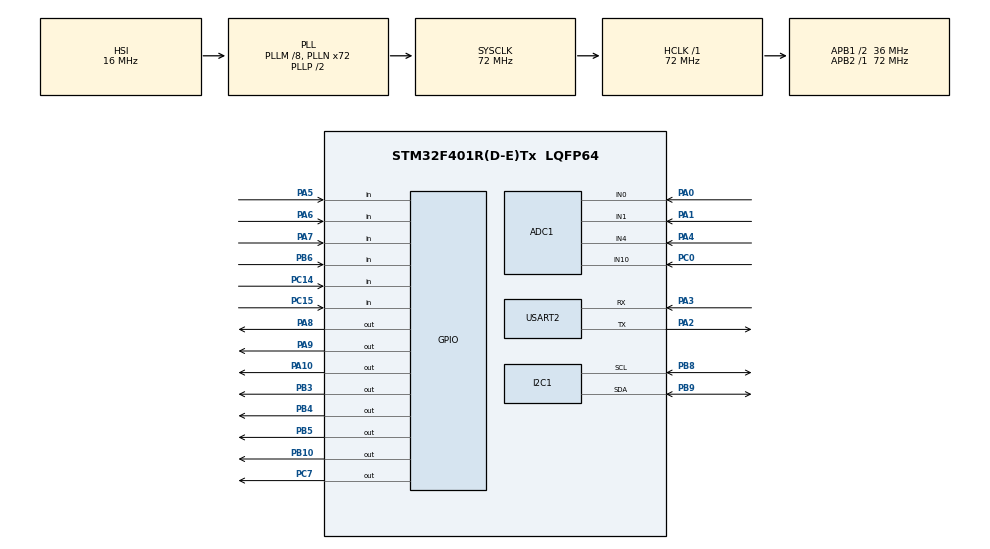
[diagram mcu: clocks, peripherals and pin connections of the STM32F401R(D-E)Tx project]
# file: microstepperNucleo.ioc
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ADC1.Channel-1\#ChannelRegularConversion=ADC_CHANNEL_0
ADC1.ClockPrescaler=ADC_CLOCK_SYNC_PCLK_DIV8
ADC1.ContinuousConvMode=ENABLE
ADC1.NbrOfConversion=1
ADC1.NbrOfConversionFlag=1
ADC1.Rank-1\#ChannelRegularConversion=1
ADC1.SamplingTime-1\#ChannelRegularConversion=ADC_SAMPLETIME_480CYCLES
ADC1.ScanConvMode=DISABLE
ADC1.master=1
Mcu.Family=STM32F4
Mcu.Name=STM32F401R(D-E)Tx
Mcu.Package=LQFP64
NVIC.PriorityGroup=NVIC_PRIORITYGROUP_4
NVIC.TIM3_IRQn=true\:0\:0\:false\:false\:true\:true\:true\:true
PA0-WKUP.Signal=ADCx_IN0
PA1.Signal=ADCx_IN1
PA10.Signal=GPIO_Output
PA13.Mode=Serial_Wire
PA13.Signal=SYS_JTMS-SWDIO
PA14.Mode=Serial_Wire
PA14.Signal=SYS_JTCK-SWCLK
PA2.Mode=Asynchronous
PA2.Signal=USART2_TX
PA3.Mode=Asynchronous
PA3.Signal=USART2_RX
PA4.Signal=ADCx_IN4
PA5.Signal=GPIO_Input
PA6.Signal=GPIO_Input
PA7.Signal=GPIO_Input
PA8.Signal=GPIO_Output
PA9.Signal=GPIO_Output
PB10.Signal=GPIO_Output
PB3.Signal=GPIO_Output
PB4.Signal=GPIO_Output
PB5.Signal=GPIO_Output
PB6.Signal=GPIO_Input
PB8.Mode=I2C
PB8.Signal=I2C1_SCL
PB9.Mode=I2C
PB9.Signal=I2C1_SDA
PC0.Signal=ADCx_IN10
PC14-OSC32_IN.Signal=GPIO_Input
PC15-OSC32_OUT.Signal=GPIO_Input
PC7.Signal=GPIO_Output
PH0\ -\ OSC_IN.Mode=HSE-External-Oscillator
PH0\ -\ OSC_IN.Signal=RCC_OSC_IN
PH1\ -\ OSC_OUT.Mode=HSE-External-Oscillator
PH1\ -\ OSC_OUT.Signal=RCC_OSC_OUT
ProjectManager.HeapSize=0x200
ProjectManager.StackSize=0x400
ProjectManager.TargetToolchain=MDK-ARM V5.32
RCC.48MHZClocksFreq_Value=36000000
RCC.AHBFreq_Value=72000000
RCC.APB1CLKDivider=RCC_HCLK_DIV2
RCC.APB1Freq_Value=36000000
RCC.APB1TimFreq_Value=72000000
RCC.APB2Freq_Value=72000000
RCC.APB2TimFreq_Value=72000000
RCC.CortexFreq_Value=72000000
RCC.HCLKFreq_Value=72000000
RCC.HSE_VALUE=25000000
RCC.HSI_VALUE=16000000
RCC.LSE_VALUE=32768
RCC.PLLM=8
RCC.PLLN=72
RCC.SYSCLKFreq_VALUE=72000000
RCC.SYSCLKSource=RCC_SYSCLKSOURCE_PLLCLK
RCC.VCOOutputFreq_Value=144000000
SH.ADCx_IN0.0=ADC1_IN0,IN0
SH.ADCx_IN1.0=ADC1_IN1,IN1
SH.ADCx_IN10.0=ADC1_IN10,IN10
SH.ADCx_IN4.0=ADC1_IN4,IN4
TIM2.Prescaler=72-1
TIM3.Period=10000-1
TIM3.Prescaler=7200-1
USART2.VirtualMode=VM_ASYNC
VP_TIM2_VS_ClockSourceINT.Mode=Internal
VP_TIM3_VS_ClockSourceINT.Mode=Internal
board=custom

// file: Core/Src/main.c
/* USER CODE BEGIN Header */
/**
  ******************************************************************************
  * @file           : main.c
  * @brief          : Main program body
  ******************************************************************************
  * @attention
  *
  * Copyright (c) 2023 STMicroelectronics.
  * All rights reserved.
  *
  * This software is licensed under terms that can be found in the LICENSE file
  * in the root directory of this software component.
  * If no LICENSE file comes with this software, it is provided AS-IS.
  *
  ******************************************************************************
  */
/* USER CODE END Header */
#include "main.h"

/* USER CODE BEGIN Includes */
#include <stdio.h>
#include <math.h>
#include "liquidcrystal_i2c.h"
/* USER CODE END Includes */

ADC_HandleTypeDef hadc1;

I2C_HandleTypeDef hi2c1;

TIM_HandleTypeDef htim2;
TIM_HandleTypeDef htim3;

UART_HandleTypeDef huart2;

/* USER CODE BEGIN PV */
float adc0, adc1, adc2, adc3;
volatile float ir_x, ir_y;
int ada_sampah, sampah_penuh;
int limit1, limit2, limit3, limit4;
volatile uint8_t buf[50];
volatile int printLen;
uint32_t i = 0;

uint32_t prev_lcd;
int message_flag = 1;

float selisih_x, selisih_y;
/* USER CODE END PV */

void SystemClock_Config(void);
static void MX_GPIO_Init(void);
static void MX_ADC1_Init(void);
static void MX_TIM2_Init(void);
static void MX_USART2_UART_Init(void);
static void MX_I2C1_Init(void);
static void MX_TIM3_Init(void);
/* USER CODE BEGIN PFP */
float getADCAvg(uint32_t channel, int sample);
void delay_us(uint32_t us);
void updateLCD();
void moveStepperX(int dir);
void moveStepperY(int dir);
void moveStepperBuang(uint32_t step);
void moveStepperKompres(uint32_t step);
void moveStepperXY(float x, float y);
float IRDistance(float volt);
/* USER CODE END PFP */

int main(void)
{

    /* MCU Configuration--------------------------------------------------------*/

    /* Reset of all peripherals, Initializes the Flash interface and the Systick. */
    HAL_Init();

    /* Configure the system clock */
    SystemClock_Config();

    /* Initialize all configured peripherals */
    MX_GPIO_Init();
    MX_ADC1_Init();
    MX_TIM2_Init();
    MX_USART2_UART_Init();
    MX_I2C1_Init();
    MX_TIM3_Init();
    /* USER CODE BEGIN 2 */
    // LCD INIT
    HD44780_Init(2, 0x27 << 1);
    HD44780_Clear();
    HD44780_SetCursor(0, 0);
    printLen = snprintf((char *)buf, 16, "Pilih Sampah");
    HD44780_PrintStr((char *)buf);
    HAL_Delay(2000);

    // TIMER INIT
    HAL_TIM_Base_Start(&htim2);
    HAL_TIM_Base_Start_IT(&htim3);
    //X = 1 menjauh
    //Y = 1 menjauh
    // HOME = 19, 44
    // BUANG SAMPAH = X=32
    // SAMPAH BASAH = Y=11
    // SAMPAH KERING = Y = 67

    /* USER CODE END 2 */

    /* Infinite loop */
    while (1)
    {

        /* USER CODE BEGIN 3 */
        // 1. HOME
        moveStepperXY(19, 44);

        // 2. DETEKSI SAMPAH
        // AKTIF HIGH
        ada_sampah=HAL_GPIO_ReadPin(GPIOC, GPIO_PIN_15);
        while(ada_sampah==0) {
            message_flag = 1;
            ada_sampah=HAL_GPIO_ReadPin(GPIOC, GPIO_PIN_15);
            HAL_Delay(100);
        }

        // 3. KOMPRES
        moveStepperKompres(30200);

        // 4. BUANG
        //kering
        if(message_flag == 3)
            moveStepperXY(32, 11);
        //basah
        else if(message_flag == 4)
            moveStepperXY(32, 67);
        moveStepperBuang(6212);

//        printLen = snprintf((char *)buf, 16, "Pilih Sampah");
//        HAL_UART_Transmit(&huart2, (uint8_t *)buf, printLen, 100);
//		//LIMIT
//		limit4=HAL_GPIO_ReadPin(GPIOA, GPIO_PIN_5);
//		limit3=HAL_GPIO_ReadPin(GPIOA, GPIO_PIN_6);
//		limit2=HAL_GPIO_ReadPin(GPIOA, GPIO_PIN_7);
//		limit1=HAL_GPIO_ReadPin(GPIOB, GPIO_PIN_6);

//        adc0 = getADCAvg(ADC_CHANNEL_0, 50);
//        adc1 = getADCAvg(ADC_CHANNEL_1, 50);
//        adc2 = getADCAvg(ADC_CHANNEL_4, 50); //moisture1
//        adc3 = getADCAvg(ADC_CHANNEL_10, 50); //moisture2

//        //https://www.digikey.com/en/maker/projects/getting-started-with-stm32-working-with-adc-and-dma/f5009db3a3ed4370acaf545a3370c30c
//        ir_x = IRDistance(adc0 / 4095.0 * 3.3);
//        ir_y = IRDistance(adc1 / 4095.0 * 3.3);

    }
    /* USER CODE END 3 */
}

void SystemClock_Config(void)
{
    RCC_OscInitTypeDef RCC_OscInitStruct = {0};
    RCC_ClkInitTypeDef RCC_ClkInitStruct = {0};

    /** Configure the main internal regulator output voltage
    */
    __HAL_RCC_PWR_CLK_ENABLE();
    __HAL_PWR_VOLTAGESCALING_CONFIG(PWR_REGULATOR_VOLTAGE_SCALE2);

    /** Initializes the RCC Oscillators according to the specified parameters
    * in the RCC_OscInitTypeDef structure.
    */
    RCC_OscInitStruct.OscillatorType = RCC_OSCILLATORTYPE_HSI;
    RCC_OscInitStruct.HSIState = RCC_HSI_ON;
    RCC_OscInitStruct.HSICalibrationValue = RCC_HSICALIBRATION_DEFAULT;
    RCC_OscInitStruct.PLL.PLLState = RCC_PLL_ON;
    RCC_OscInitStruct.PLL.PLLSource = RCC_PLLSOURCE_HSI;
    RCC_OscInitStruct.PLL.PLLM = 8;
    RCC_OscInitStruct.PLL.PLLN = 72;
    RCC_OscInitStruct.PLL.PLLP = RCC_PLLP_DIV2;
    RCC_OscInitStruct.PLL.PLLQ = 4;
    if (HAL_RCC_OscConfig(&RCC_OscInitStruct) != HAL_OK)
    {
        Error_Handler();
    }

    /** Initializes the CPU, AHB and APB buses clocks
    */
    RCC_ClkInitStruct.ClockType = RCC_CLOCKTYPE_HCLK|RCC_CLOCKTYPE_SYSCLK
                                  |RCC_CLOCKTYPE_PCLK1|RCC_CLOCKTYPE_PCLK2;
    RCC_ClkInitStruct.SYSCLKSource = RCC_SYSCLKSOURCE_PLLCLK;
    RCC_ClkInitStruct.AHBCLKDivider = RCC_SYSCLK_DIV1;
    RCC_ClkInitStruct.APB1CLKDivider = RCC_HCLK_DIV2;
    RCC_ClkInitStruct.APB2CLKDivider = RCC_HCLK_DIV1;

    if (HAL_RCC_ClockConfig(&RCC_ClkInitStruct, FLASH_LATENCY_2) != HAL_OK)
    {
        Error_Handler();
    }
}

static void MX_ADC1_Init(void)
{

    ADC_ChannelConfTypeDef sConfig = {0};

    /** Configure the global features of the ADC (Clock, Resolution, Data Alignment and number of conversion)
    */
    hadc1.Instance = ADC1;
    hadc1.Init.ClockPrescaler = ADC_CLOCK_SYNC_PCLK_DIV8;
    hadc1.Init.Resolution = ADC_RESOLUTION_12B;
    hadc1.Init.ScanConvMode = DISABLE;
    hadc1.Init.ContinuousConvMode = ENABLE;
    hadc1.Init.DiscontinuousConvMode = DISABLE;
    hadc1.Init.ExternalTrigConvEdge = ADC_EXTERNALTRIGCONVEDGE_NONE;
    hadc1.Init.ExternalTrigConv = ADC_SOFTWARE_START;
    hadc1.Init.DataAlign = ADC_DATAALIGN_RIGHT;
    hadc1.Init.NbrOfConversion = 1;
    hadc1.Init.DMAContinuousRequests = DISABLE;
    hadc1.Init.EOCSelection = ADC_EOC_SINGLE_CONV;
    if (HAL_ADC_Init(&hadc1) != HAL_OK)
    {
        Error_Handler();
    }

    /** Configure for the selected ADC regular channel its corresponding rank in the sequencer and its sample time.
    */
    sConfig.Channel = ADC_CHANNEL_0;
    sConfig.Rank = 1;
    sConfig.SamplingTime = ADC_SAMPLETIME_480CYCLES;
    if (HAL_ADC_ConfigChannel(&hadc1, &sConfig) != HAL_OK)
    {
        Error_Handler();
    }

}

static void MX_I2C1_Init(void)
{

    hi2c1.Instance = I2C1;
    hi2c1.Init.ClockSpeed = 100000;
    hi2c1.Init.DutyCycle = I2C_DUTYCYCLE_2;
    hi2c1.Init.OwnAddress1 = 0;
    hi2c1.Init.AddressingMode = I2C_ADDRESSINGMODE_7BIT;
    hi2c1.Init.DualAddressMode = I2C_DUALADDRESS_DISABLE;
    hi2c1.Init.OwnAddress2 = 0;
    hi2c1.Init.GeneralCallMode = I2C_GENERALCALL_DISABLE;
    hi2c1.Init.NoStretchMode = I2C_NOSTRETCH_DISABLE;
    if (HAL_I2C_Init(&hi2c1) != HAL_OK)
    {
        Error_Handler();
    }

}

static void MX_TIM2_Init(void)
{

    TIM_ClockConfigTypeDef sClockSourceConfig = {0};
    TIM_MasterConfigTypeDef sMasterConfig = {0};

    htim2.Instance = TIM2;
    htim2.Init.Prescaler = 72-1;
    htim2.Init.CounterMode = TIM_COUNTERMODE_UP;
    htim2.Init.Period = 4294967295;
    htim2.Init.ClockDivision = TIM_CLOCKDIVISION_DIV1;
    htim2.Init.AutoReloadPreload = TIM_AUTORELOAD_PRELOAD_DISABLE;
    if (HAL_TIM_Base_Init(&htim2) != HAL_OK)
    {
        Error_Handler();
    }
    sClockSourceConfig.ClockSource = TIM_CLOCKSOURCE_INTERNAL;
    if (HAL_TIM_ConfigClockSource(&htim2, &sClockSourceConfig) != HAL_OK)
    {
        Error_Handler();
    }
    sMasterConfig.MasterOutputTrigger = TIM_TRGO_RESET;
    sMasterConfig.MasterSlaveMode = TIM_MASTERSLAVEMODE_DISABLE;
    if (HAL_TIMEx_MasterConfigSynchronization(&htim2, &sMasterConfig) != HAL_OK)
    {
        Error_Handler();
    }

}

static void MX_TIM3_Init(void)
{

    TIM_ClockConfigTypeDef sClockSourceConfig = {0};
    TIM_MasterConfigTypeDef sMasterConfig = {0};

    htim3.Instance = TIM3;
    htim3.Init.Prescaler = 7200-1;
    htim3.Init.CounterMode = TIM_COUNTERMODE_UP;
    htim3.Init.Period = 10000-1;
    htim3.Init.ClockDivision = TIM_CLOCKDIVISION_DIV1;
    htim3.Init.AutoReloadPreload = TIM_AUTORELOAD_PRELOAD_DISABLE;
    if (HAL_TIM_Base_Init(&htim3) != HAL_OK)
    {
        Error_Handler();
    }
    sClockSourceConfig.ClockSource = TIM_CLOCKSOURCE_INTERNAL;
    if (HAL_TIM_ConfigClockSource(&htim3, &sClockSourceConfig) != HAL_OK)
    {
        Error_Handler();
    }
    sMasterConfig.MasterOutputTrigger = TIM_TRGO_RESET;
    sMasterConfig.MasterSlaveMode = TIM_MASTERSLAVEMODE_DISABLE;
    if (HAL_TIMEx_MasterConfigSynchronization(&htim3, &sMasterConfig) != HAL_OK)
    {
        Error_Handler();
    }

}

static void MX_USART2_UART_Init(void)
{

    huart2.Instance = USART2;
    huart2.Init.BaudRate = 115200;
    huart2.Init.WordLength = UART_WORDLENGTH_8B;
    huart2.Init.StopBits = UART_STOPBITS_1;
    huart2.Init.Parity = UART_PARITY_NONE;
    huart2.Init.Mode = UART_MODE_TX_RX;
    huart2.Init.HwFlowCtl = UART_HWCONTROL_NONE;
    huart2.Init.OverSampling = UART_OVERSAMPLING_16;
    if (HAL_UART_Init(&huart2) != HAL_OK)
    {
        Error_Handler();
    }

}

static void MX_GPIO_Init(void)
{
    GPIO_InitTypeDef GPIO_InitStruct = {0};

    /* GPIO Ports Clock Enable */
    __HAL_RCC_GPIOC_CLK_ENABLE();
    __HAL_RCC_GPIOH_CLK_ENABLE();
    __HAL_RCC_GPIOA_CLK_ENABLE();
    __HAL_RCC_GPIOB_CLK_ENABLE();

    /*Configure GPIO pin Output Level */
    HAL_GPIO_WritePin(GPIOB, GPIO_PIN_10|GPIO_PIN_3|GPIO_PIN_4|GPIO_PIN_5, GPIO_PIN_RESET);

    /*Configure GPIO pin Output Level */
    HAL_GPIO_WritePin(GPIOC, GPIO_PIN_7, GPIO_PIN_RESET);

    /*Configure GPIO pin Output Level */
    HAL_GPIO_WritePin(GPIOA, GPIO_PIN_8|GPIO_PIN_9|GPIO_PIN_10, GPIO_PIN_RESET);

    /*Configure GPIO pins : PC14 PC15 */
    GPIO_InitStruct.Pin = GPIO_PIN_14|GPIO_PIN_15;
    GPIO_InitStruct.Mode = GPIO_MODE_INPUT;
    GPIO_InitStruct.Pull = GPIO_NOPULL;
    HAL_GPIO_Init(GPIOC, &GPIO_InitStruct);

    /*Configure GPIO pins : PA5 PA6 PA7 */
    GPIO_InitStruct.Pin = GPIO_PIN_5|GPIO_PIN_6|GPIO_PIN_7;
    GPIO_InitStruct.Mode = GPIO_MODE_INPUT;
    GPIO_InitStruct.Pull = GPIO_NOPULL;
    HAL_GPIO_Init(GPIOA, &GPIO_InitStruct);

    /*Configure GPIO pins : PB10 PB3 PB4 PB5 */
    GPIO_InitStruct.Pin = GPIO_PIN_10|GPIO_PIN_3|GPIO_PIN_4|GPIO_PIN_5;
    GPIO_InitStruct.Mode = GPIO_MODE_OUTPUT_PP;
    GPIO_InitStruct.Pull = GPIO_NOPULL;
    GPIO_InitStruct.Speed = GPIO_SPEED_FREQ_LOW;
    HAL_GPIO_Init(GPIOB, &GPIO_InitStruct);

    /*Configure GPIO pin : PC7 */
    GPIO_InitStruct.Pin = GPIO_PIN_7;
    GPIO_InitStruct.Mode = GPIO_MODE_OUTPUT_PP;
    GPIO_InitStruct.Pull = GPIO_NOPULL;
    GPIO_InitStruct.Speed = GPIO_SPEED_FREQ_LOW;
    HAL_GPIO_Init(GPIOC, &GPIO_InitStruct);

    /*Configure GPIO pins : PA8 PA9 PA10 */
    GPIO_InitStruct.Pin = GPIO_PIN_8|GPIO_PIN_9|GPIO_PIN_10;
    GPIO_InitStruct.Mode = GPIO_MODE_OUTPUT_PP;
    GPIO_InitStruct.Pull = GPIO_NOPULL;
    GPIO_InitStruct.Speed = GPIO_SPEED_FREQ_LOW;
    HAL_GPIO_Init(GPIOA, &GPIO_InitStruct);

    /*Configure GPIO pin : PB6 */
    GPIO_InitStruct.Pin = GPIO_PIN_6;
    GPIO_InitStruct.Mode = GPIO_MODE_INPUT;
    GPIO_InitStruct.Pull = GPIO_NOPULL;
    HAL_GPIO_Init(GPIOB, &GPIO_InitStruct);

}

/* USER CODE BEGIN 4 */
float getADCAvg(uint32_t channel, int sample)
{
    //KONFIGURASI ADC
    ADC_ChannelConfTypeDef sConfig = {0};
    sConfig.Channel = channel;
    sConfig.Rank = 1;
    sConfig.SamplingTime = ADC_SAMPLETIME_84CYCLES;
    if (HAL_ADC_ConfigChannel(&hadc1, &sConfig) != HAL_OK)
    {
        Error_Handler();
    }

    //SAMPLING ADC
    float adcVal = 0;
    for (int i = 0; i < sample; i++)
    {
        HAL_ADC_Start(&hadc1);
        HAL_ADC_PollForConversion(&hadc1, 100);
        adcVal += HAL_ADC_GetValue(&hadc1);
    }
    adcVal /= sample;
    return adcVal;
}

void delay_us(uint32_t us)
{
    __HAL_TIM_SET_COUNTER(&htim2, 0); // set the counter value a 0
    while (__HAL_TIM_GET_COUNTER(&htim2) < us)
        ; // wait for the counter to reach the us input in the parameter
}

void updateLCD()
{
    /**********************
    16x2
    **********************/
    HD44780_Clear();
    HD44780_SetCursor(0, 0);
    if (message_flag == 1)
        printLen = snprintf((char *)buf, 16, "Tunggu Sampah");
    else if (message_flag == 2)
        printLen = snprintf((char *)buf, 16, "Kompres Sampah");
    else if (message_flag == 3)
        printLen = snprintf((char *)buf, 16, "Sampah Kering");
    else if (message_flag == 4)
        printLen = snprintf((char *)buf, 16, "Sampah Basah");
    else if (message_flag == 5)
        printLen = snprintf((char *)buf, 16, "Buang Sampah");
    HD44780_PrintStr((char *)buf);

    HD44780_SetCursor(0, 1);
    printLen = snprintf((char *)buf, 16, "pos:%.2f,%.2f", ir_x, ir_y);
    HD44780_PrintStr((char *)buf);
}

void moveStepperX(int dir)
{
    HAL_GPIO_WritePin(GPIOB, GPIO_PIN_3, dir);
    HAL_GPIO_WritePin(GPIOA, GPIO_PIN_10, GPIO_PIN_SET);
    delay_us(1000);
    HAL_GPIO_WritePin(GPIOA, GPIO_PIN_10, GPIO_PIN_RESET);
    delay_us(1000);
}
void moveStepperY(int dir)
{
    HAL_GPIO_WritePin(GPIOB, GPIO_PIN_4, dir);
    HAL_GPIO_WritePin(GPIOB, GPIO_PIN_5, GPIO_PIN_SET);
    delay_us(1000);
    HAL_GPIO_WritePin(GPIOB, GPIO_PIN_5, GPIO_PIN_RESET);
    delay_us(1000);
}
void moveStepperXY(float x, float y)
{
    adc0 = getADCAvg(ADC_CHANNEL_0, 50);
    ir_x = IRDistance(adc0 / 4095.0 * 3.3);
    selisih_x = x - ir_x;

    adc1 = getADCAvg(ADC_CHANNEL_1, 50);
    ir_y = IRDistance(adc1 / 4095.0 * 3.3);
    selisih_y = y - ir_y;
    if ((fabs(selisih_x) > 2) || (fabs(selisih_y) > 2)) {
        //=========X==========
        while (fabs(selisih_x) > 2)
        {
            if (selisih_x <= 0)
                moveStepperX(0);
            else
                moveStepperX(1);
            adc0 = getADCAvg(ADC_CHANNEL_0, 50);
            ir_x = IRDistance(adc0 / 4095.0 * 3.3);
            selisih_x = x - ir_x;
        }
        //=========Y==========
        while (fabs(selisih_y) > 2)
        {
            if (selisih_y <= 0)
                moveStepperY(0);
            else
                moveStepperY(1);
            adc1 = getADCAvg(ADC_CHANNEL_1, 50);
            ir_y = IRDistance(adc1 / 4095.0 * 3.3);
            selisih_y = y - ir_y;
        }
    }
    //SCAN LAGI SESUDAH MEMINDAH X Y
    adc0 = getADCAvg(ADC_CHANNEL_0, 50);
    ir_x = IRDistance(adc0 / 4095.0 * 3.3);
    selisih_x = x - ir_x;

    adc1 = getADCAvg(ADC_CHANNEL_1, 50);
    ir_y = IRDistance(adc1 / 4095.0 * 3.3);
    selisih_y = y - ir_y;
}
void moveStepperBuang(uint32_t step)
{
    message_flag = 5;
    // AKTIF HIGH
	// JIKA SENSOR PROX BAWAH TERDETEKSI, dan n;
    sampah_penuh = HAL_GPIO_ReadPin(GPIOC, GPIO_PIN_14);
    while (sampah_penuh == 0)
    {
        moveStepperX(0);
        sampah_penuh = HAL_GPIO_ReadPin(GPIOC, GPIO_PIN_14);
    }

    //BUKA
    HAL_GPIO_WritePin(GPIOC, GPIO_PIN_7, GPIO_PIN_RESET);
    for (uint32_t i = 0; i < step; i++)
    {
        HAL_GPIO_WritePin(GPIOA, GPIO_PIN_9, GPIO_PIN_SET);
        delay_us(500);
        HAL_GPIO_WritePin(GPIOA, GPIO_PIN_9, GPIO_PIN_RESET);
        delay_us(500);
    }

    //TUTUP
    HAL_GPIO_WritePin(GPIOC, GPIO_PIN_7, GPIO_PIN_SET);
    for (uint32_t i = 0; i < step; i++)
    {
        HAL_GPIO_WritePin(GPIOA, GPIO_PIN_9, GPIO_PIN_SET);
        delay_us(500);
        HAL_GPIO_WritePin(GPIOA, GPIO_PIN_9, GPIO_PIN_RESET);
        delay_us(500);
    }

	HAL_GPIO_WritePin(GPIOA, GPIO_PIN_8, GPIO_PIN_RESET);
	for (i = i; i > 0; i--)
    {
        HAL_GPIO_WritePin(GPIOB, GPIO_PIN_10, GPIO_PIN_SET);
        delay_us(500);
        HAL_GPIO_WritePin(GPIOB, GPIO_PIN_10, GPIO_PIN_RESET);
        delay_us(500);
    }
}
void moveStepperKompres(uint32_t step)
{
    message_flag = 2;
    HAL_GPIO_WritePin(GPIOA, GPIO_PIN_8, GPIO_PIN_SET);
    i = 0;
    for (i = 0; i < step; i++)
    {
        HAL_GPIO_WritePin(GPIOB, GPIO_PIN_10, GPIO_PIN_SET);
        delay_us(500);
        HAL_GPIO_WritePin(GPIOB, GPIO_PIN_10, GPIO_PIN_RESET);
        delay_us(500);

        adc2 = getADCAvg(ADC_CHANNEL_4, 50); //moisture1
        adc3 = getADCAvg(ADC_CHANNEL_10, 50); //moisture2
        if ((adc2 < 1500) || (adc3 < 1500))
        {
            message_flag = 4;
        }
    }
    HAL_GPIO_WritePin(GPIOA, GPIO_PIN_8, GPIO_PIN_RESET);
    for (i = i; i > (float)i/2.0; i--)
    {
        HAL_GPIO_WritePin(GPIOB, GPIO_PIN_10, GPIO_PIN_SET);
        delay_us(500);
        HAL_GPIO_WritePin(GPIOB, GPIO_PIN_10, GPIO_PIN_RESET);
        delay_us(500);
    }
    if (message_flag != 4)
        message_flag = 3;
}
void HAL_TIM_PeriodElapsedCallback(TIM_HandleTypeDef *htim)
{
    //MULAI DMA KETIKA COUNTER TIM3 PENUH
    if (htim->Instance == TIM3)
        updateLCD();
}
float IRDistance(float volt)
{
    return (29.988 * pow(volt, -1.173));
}
/* USER CODE END 4 */

void Error_Handler(void)
{
    __disable_irq();
    while (1)
    {
    }
}
